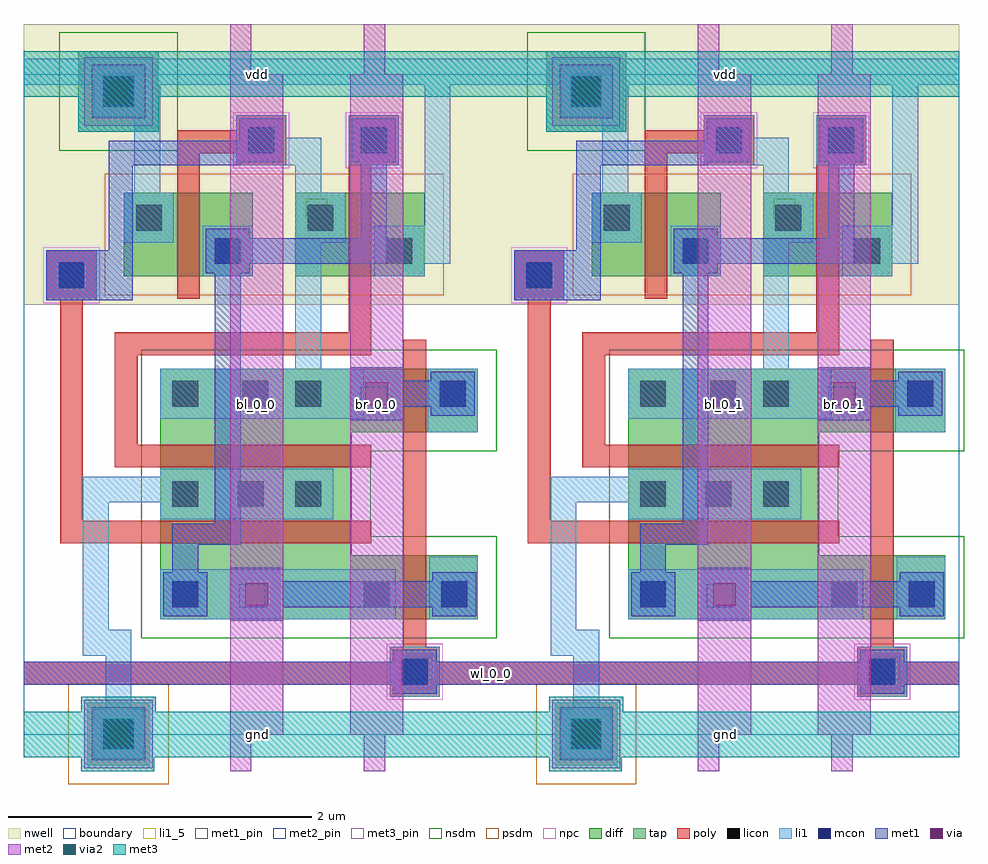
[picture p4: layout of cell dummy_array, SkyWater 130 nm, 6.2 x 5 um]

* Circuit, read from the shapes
.subckt dummy_array bl_0_0 bl_0_1 br_0_0 br_0_1 gnd vdd wl_0_0
XM1 gnd dummy_cell_1rw_0/Q_bar dummy_cell_1rw_0/Q gnd sky130_fd_pr__nfet_01v8 w=1.26 l=0.15
XM2 dummy_cell_1rw_0/Q_bar dummy_cell_1rw_0/Q gnd gnd sky130_fd_pr__nfet_01v8 w=1.26 l=0.15
XM3 bl_0_0 wl_0_0 dummy_cell_1rw_0/Q gnd sky130_fd_pr__nfet_01v8 w=0.42 l=0.15
XM4 br_0_0 wl_0_0 dummy_cell_1rw_0/Q_bar gnd sky130_fd_pr__nfet_01v8 w=0.42 l=0.15
XM5 gnd dummy_cell_1rw_1/Q_bar dummy_cell_1rw_1/Q gnd sky130_fd_pr__nfet_01v8 w=1.26 l=0.15
XM6 dummy_cell_1rw_1/Q_bar dummy_cell_1rw_1/Q gnd gnd sky130_fd_pr__nfet_01v8 w=1.26 l=0.15
XM7 bl_0_1 wl_0_0 dummy_cell_1rw_1/Q gnd sky130_fd_pr__nfet_01v8 w=0.42 l=0.15
XM8 br_0_1 wl_0_0 dummy_cell_1rw_1/Q_bar gnd sky130_fd_pr__nfet_01v8 w=0.42 l=0.15
XM9 dummy_cell_1rw_0/Q dummy_cell_1rw_0/Q_bar vdd vdd sky130_fd_pr__pfet_01v8 w=0.55 l=0.15
XM10 vdd dummy_cell_1rw_0/Q dummy_cell_1rw_0/Q_bar vdd sky130_fd_pr__pfet_01v8 w=0.55 l=0.15
XM11 dummy_cell_1rw_1/Q dummy_cell_1rw_1/Q_bar vdd vdd sky130_fd_pr__pfet_01v8 w=0.55 l=0.15
XM12 vdd dummy_cell_1rw_1/Q dummy_cell_1rw_1/Q_bar vdd sky130_fd_pr__pfet_01v8 w=0.55 l=0.15
.ends

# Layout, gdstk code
import gdstk
lib = gdstk.Library(unit=1e-6, precision=1e-09)
def R(c, l, rs):  # rectangles x0, y0, x1, y1
    for r in rs: c.add(gdstk.rectangle(r[:2], r[2:], *l))
def A(c, l, x, y, w, h, nx, ny, dx, dy):  # array of equal rectangles
    R(c, l, [(x+i*dx, y+j*dy, x+i*dx+w, y+j*dy+h) for i in range(nx) for j in range(ny)])
nwell = (64, 20)
diff = (65, 20)
tap = (65, 44)
poly = (66, 20)
licon = (66, 44)
li1_5 = (67, 5)
li1 = (67, 20)
mcon = (67, 44)
met1_pin = (68, 16)
met1 = (68, 20)
via = (68, 44)
met2_pin = (69, 16)
met2 = (69, 20)
via2 = (69, 44)
met3_pin = (70, 16)
met3 = (70, 20)
nsdm = (93, 44)
psdm = (94, 20)
npc = (95, 20)
boundary = (235, 4)

dummy_cell_1rw = lib.new_cell('dummy_cell_1rw')
R(dummy_cell_1rw, nwell, [(0,2.83,3.08,4.68)])
R(dummy_cell_1rw, diff, [(0.9,0.76,2.99,1.18), (0.9,1.18,2.16,1.99), (0.9,1.99,2.99,2.41), (0.66,3.02,1.51,3.57), (1.79,3.02,2.64,3.57)])
R(dummy_cell_1rw, tap, [(0.42,-0.2,0.83,0.21), (0.36,3.97,0.89,4.5)])
R(dummy_cell_1rw, poly, [(2.41,0.25,2.74,0.33), (0,0.33,3.08,0.48), (2.41,0.48,2.74,0.58), (2.5,0.58,2.65,2.6), (0.24,1.26,2.29,1.41), (0.24,1.41,0.39,2.86), (0.6,1.76,2.29,1.91), (0.6,1.91,0.75,2.5), (0.6,2.5,2.29,2.65), (2.14,2.65,2.29,3.75), (0.15,2.86,0.48,3.19), (1.01,2.87,1.16,3.83), (1.4,3.75,1.73,3.83), (2.14,3.75,2.47,4.08), (1.01,3.83,1.73,3.98), (1.4,3.98,1.73,4.08)])
A(dummy_cell_1rw, licon, 0.98, 0.84, 0.17, 0.17, 1, 3, 0, 0.66)
R(dummy_cell_1rw, licon, [(0.54,-0.08,0.71,0.09), (2.49,0.33,2.66,0.5), (2.24,0.84,2.41,1.01), (2.75,0.84,2.92,1.01), (1.41,1.5,1.58,1.67), (1.79,1.5,1.96,1.67), (1.44,2.16,1.61,2.33), (1.79,2.16,1.96,2.33), (2.74,2.16,2.91,2.33), (0.23,2.94,0.4,3.11), (1.26,3.1,1.43,3.27), (2.39,3.1,2.56,3.27), (0.74,3.32,0.91,3.49), (1.87,3.32,2.04,3.49), (1.48,3.83,1.65,4), (2.22,3.83,2.39,4), (0.54,4.15,0.71,4.32)])
R(dummy_cell_1rw, li1_5, [(1.2,3.12,1.34,3.25), (1.86,3.4,2,3.53)])
R(dummy_cell_1rw, li1, [(0.46,-0.16,0.79,-0.08), (0.45,-0.08,0.8,0.09), (0.46,0.09,0.79,0.17), (0.54,0.17,0.71,0.52), (2.41,0.25,2.74,0.58), (0.39,0.52,0.71,0.69), (0.39,0.69,0.56,1.53), (0.9,0.76,2.45,1.09), (2.67,0.76,2.99,1.17), (0.9,1.42,2.04,1.53), (0.39,1.53,2.04,1.7), (0.9,1.7,2.04,1.75), (2.66,1.99,2.99,2.41), (0.9,2.08,2.24,2.41), (1.79,2.41,1.96,3.24), (0.15,2.86,0.48,3.19), (1.18,3.02,1.51,3.35), (2.31,3.02,2.64,3.1), (2.31,3.1,2.81,3.35), (0.66,3.24,0.99,3.57), (1.79,3.24,2.12,3.57), (2.64,3.35,2.81,4.28), (0.73,3.57,0.9,4.07), (1.79,3.57,1.96,3.75), (1.4,3.75,1.96,3.93), (2.14,3.75,2.47,4.08), (1.4,3.93,1.73,4.08), (0.46,4.07,0.9,4.28), (0,4.28,3.08,4.45)])
R(dummy_cell_1rw, mcon, [(0.54,-0.08,0.71,0.09), (2.49,0.33,2.66,0.5), (0.98,0.84,1.15,1.01), (2.75,0.84,2.92,1.01), (2.74,2.16,2.91,2.33), (0.23,2.94,0.4,3.11), (1.26,3.1,1.43,3.27), (1.48,3.83,1.65,4), (2.22,3.83,2.39,4), (0.54,4.15,0.71,4.32)])
R(dummy_cell_1rw, met1_pin, [(2.52,0.36,2.69,0.51)])
R(dummy_cell_1rw, met1, [(0.45,-0.17,0.8,0.18), (2.43,0.27,2.72,0.33), (0,0.33,3.08,0.48), (0,0.33,3.08,0.48), (2.43,0.48,2.72,0.56), (1.36,0.75,1.71,0.84), (0.92,0.78,1.21,1.07), (2.69,0.78,2.98,0.84), (1.36,0.84,2.98,1.01), (1.36,1.01,1.71,1.1), (2.69,1.01,2.98,1.07), (0.98,1.07,1.15,1.25), (0.98,1.25,1.43,1.39), (1.26,1.39,1.43,3.04), (2.15,2.07,2.5,2.16), (2.68,2.1,2.97,2.16), (2.15,2.16,2.97,2.33), (2.15,2.33,2.5,2.42), (2.68,2.33,2.97,2.39), (0.15,2.86,0.72,3.19), (1.2,3.04,1.49,3.1), (1.2,3.1,2.39,3.27), (0.56,3.19,0.72,3.75), (1.2,3.27,1.49,3.33), (2.22,3.27,2.39,3.77), (0.56,3.75,1.43,3.77), (0.56,3.77,1.71,3.91), (2.16,3.77,2.45,4.06), (1.42,3.91,1.71,4.06), (0.45,4.06,0.8,4.41)])
R(dummy_cell_1rw, via, [(0.55,-0.07,0.7,0.08), (1.46,0.85,1.61,1), (2.25,2.17,2.4,2.32), (0.55,4.16,0.7,4.31)])
R(dummy_cell_1rw, met2_pin, [(1.42,0.84,1.59,0.99), (2.22,2.14,2.39,2.29)])
R(dummy_cell_1rw, met2, [(1.36,-0.24,1.5,0.75), (2.24,-0.24,2.38,2.07), (0.4,-0.22,0.85,0.23), (1.36,0.75,1.71,1.1), (1.36,0.75,1.71,1.1), (1.36,1.1,1.5,4.68), (2.15,2.07,2.5,2.42), (2.15,2.07,2.5,2.42), (2.24,2.42,2.38,4.68), (0.4,4.01,0.85,4.46)])
R(dummy_cell_1rw, via2, [(0.525,-0.095,0.725,0.105), (0.525,4.135,0.725,4.335)])
R(dummy_cell_1rw, met3_pin, [(0.51,-0.09,0.68,0.06), (0.55,4.21,0.72,4.36)])
R(dummy_cell_1rw, met3, [(0.38,-0.24,0.86,-0.15), (0,-0.15,3.08,0.15), (0,-0.15,3.08,0.15), (0.38,0.15,0.87,0.25), (0.36,3.97,0.89,4.2), (0,4.2,3.08,4.5), (0,4.2,3.08,4.5)])
R(dummy_cell_1rw, nsdm, [(0.775,0.635,3.115,1.305), (0.775,1.305,2.285,1.865), (0.775,1.865,3.115,2.535), (0.235,3.845,1.015,4.625)])
R(dummy_cell_1rw, psdm, [(0.295,-0.325,0.955,0.335), (0.535,2.895,2.765,3.695)])
R(dummy_cell_1rw, npc, [(2.39,0.23,2.76,0.6), (0.13,2.84,0.5,3.21), (1.38,3.73,1.75,4.1), (2.12,3.73,2.49,4.1)])
R(dummy_cell_1rw, boundary, [(0,0,3.08,4.35)])
dummy_cell_1rw.add(gdstk.Label('Q_bar', (1.93,3.465), layer=67, texttype=5))
dummy_cell_1rw.add(gdstk.Label('Q', (1.27,3.185), layer=67, texttype=5))
dummy_cell_1rw.add(gdstk.Label('bl', (1.505,0.915), layer=69, texttype=16))
dummy_cell_1rw.add(gdstk.Label('br', (2.305,2.215), layer=69, texttype=16))
dummy_cell_1rw.add(gdstk.Label('wl', (2.605,0.435), layer=68, texttype=16))
dummy_cell_1rw.add(gdstk.Label('vdd', (0.635,4.285), layer=70, texttype=16))
dummy_cell_1rw.add(gdstk.Label('gnd', (0.595,-0.015), layer=70, texttype=16))
dummy_cell_1rw.add(gdstk.Label('bl', (1.535,0.925), layer=69, texttype=20))
dummy_cell_1rw.add(gdstk.Label('br', (2.325,2.245), layer=69, texttype=20))
dummy_cell_1rw.add(gdstk.Label('wl', (1.54,0.405), layer=68, texttype=20))
dummy_cell_1rw.add(gdstk.Label('vdd', (1.54,4.35), layer=70, texttype=20))
dummy_cell_1rw.add(gdstk.Label('gnd', (1.54,0), layer=70, texttype=20))

dummy_array = lib.new_cell('dummy_array')
R(dummy_array, met1, [(0,0.33,6.16,0.48)])
R(dummy_array, met2, [(1.36,0,1.71,4.35), (2.15,0,2.5,4.35), (4.44,0,4.79,4.35), (5.23,0,5.58,4.35)])
R(dummy_array, met3, [(0,-0.15,3.08,0.15), (3.08,-0.15,6.16,0.15), (0,4.2,3.08,4.5), (3.08,4.2,6.16,4.5)])
R(dummy_array, boundary, [(0,0,6.16,4.35)])
dummy_array.add(gdstk.Reference(dummy_cell_1rw, (0,0)))
dummy_array.add(gdstk.Reference(dummy_cell_1rw, (3.08,0)))
dummy_array.add(gdstk.Label('bl_0_0', (1.535,2.175), layer=69, texttype=20))
dummy_array.add(gdstk.Label('br_0_0', (2.325,2.175), layer=69, texttype=20))
dummy_array.add(gdstk.Label('bl_0_1', (4.615,2.175), layer=69, texttype=20))
dummy_array.add(gdstk.Label('br_0_1', (5.405,2.175), layer=69, texttype=20))
dummy_array.add(gdstk.Label('wl_0_0', (3.08,0.405), layer=68, texttype=20))
dummy_array.add(gdstk.Label('vdd', (4.62,4.35), layer=70, texttype=20))
dummy_array.add(gdstk.Label('vdd', (1.54,4.35), layer=70, texttype=20))
dummy_array.add(gdstk.Label('gnd', (1.54,0), layer=70, texttype=20))
dummy_array.add(gdstk.Label('gnd', (4.62,0), layer=70, texttype=20))

lib.write_gds('dummy_array.gds')
